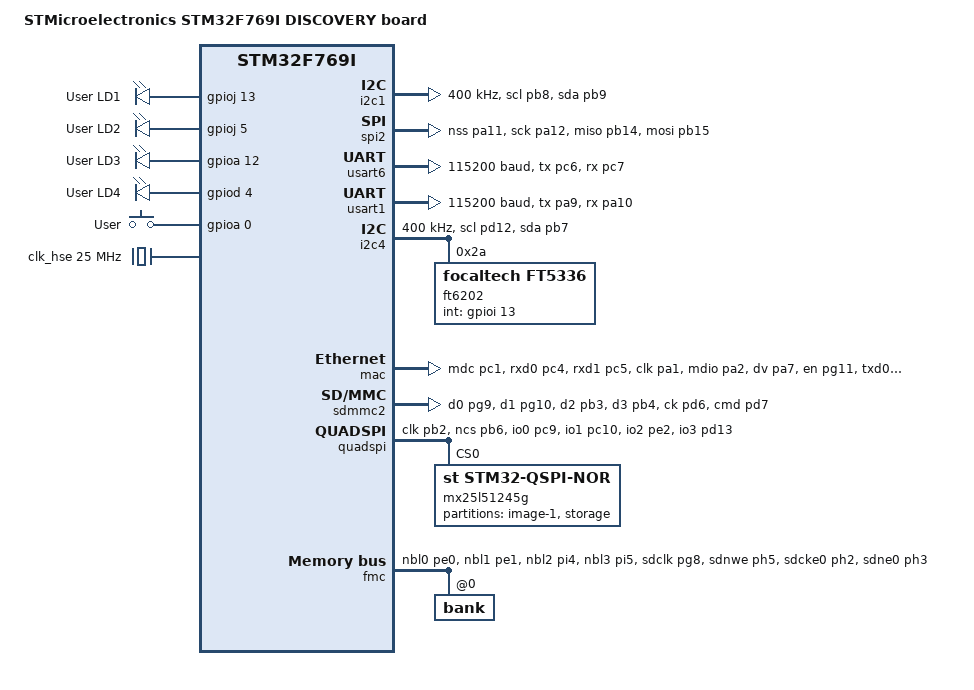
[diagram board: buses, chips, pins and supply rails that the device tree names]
/*
 * Copyright (c) 2018 Yong Jin
 *
 * SPDX-License-Identifier: Apache-2.0
 */

/dts-v1/;
#include <st/f7/stm32f769Xi.dtsi>
#include <st/f7/stm32f769nihx-pinctrl.dtsi>
#include <zephyr/dt-bindings/memory-attr/memory-attr-arm.h>
#include "arduino_r3_connector.dtsi"
#include <zephyr/dt-bindings/input/input-event-codes.h>

/ {
	model = "STMicroelectronics STM32F769I DISCOVERY board";
	compatible = "st,stm32f769I-disco";

	chosen {
		zephyr,console = &usart1;
		zephyr,shell-uart = &usart1;
		zephyr,sram = &sram0;
		zephyr,flash = &flash0;
		zephyr,dtcm = &dtcm;
		zephyr,flash-controller = &mx25l51245g;
	};

	sdram1: sdram@c0000000 {
		compatible = "zephyr,memory-region", "mmio-sram";
		device_type = "memory";
		reg = <0xc0000000 DT_SIZE_M(16)>;
		zephyr,memory-region = "SDRAM1";
		zephyr,memory-attr = <( DT_MEM_ARM(ATTR_MPU_RAM) )>;
	};

	leds {
		compatible = "gpio-leds";
		red_led_1:led_1 {
			gpios = <&gpioj 13 GPIO_ACTIVE_HIGH>;
			label = "User LD1";
		};
		green_led_2:led_2 {
			gpios = <&gpioj 5 GPIO_ACTIVE_HIGH>;
			label = "User LD2";
		};
		green_led_3:led_3 {
			gpios = <&gpioa 12 GPIO_ACTIVE_HIGH>;
			label = "User LD3";
		};
		red_led_4:led_4 {
			gpios = <&gpiod 4 GPIO_ACTIVE_HIGH>;
			label = "User LD4";
		};
	};

	gpio_keys {
		compatible = "gpio-keys";
		user_button: button {
			label = "User";
			gpios = <&gpioa 0 GPIO_ACTIVE_HIGH>;
			zephyr,code = <INPUT_KEY_0>;
		};
	};

	lvgl_pointer {
		compatible = "zephyr,lvgl-pointer-input";
		input = <&ft6202>;
	};

	aliases {
		led0 = &red_led_1;
		led1 = &green_led_2;
		led2 = &green_led_3;
		led3 = &red_led_4;
		sw0 = &user_button;
		spi-flash0 = &mx25l51245g;
	};
};

&clk_hse {
	clock-frequency = <DT_FREQ_M(25)>;
	status = "okay";
};

&pll {
	div-m = <25>;
	mul-n = <432>;
	div-p = <2>;
	div-q = <9>;
	clocks = <&clk_hse>;
	status = "okay";
};

&rcc {
	clocks = <&pll>;
	clock-frequency = <DT_FREQ_M(216)>;
	ahb-prescaler = <1>;
	apb1-prescaler = <4>;
	apb2-prescaler = <2>;
};

arduino_i2c: &i2c1 {};
arduino_spi: &spi2 {};
arduino_serial: &usart6 {};

&usart1 {
	pinctrl-0 = <&usart1_tx_pa9 &usart1_rx_pa10>;
	pinctrl-names = "default";
	current-speed = <115200>;
	status = "okay";
};

&usart6 {
	pinctrl-0 = <&usart6_tx_pc6 &usart6_rx_pc7>;
	pinctrl-names = "default";
	current-speed = <115200>;
	status = "okay";
};

&i2c1 {
	pinctrl-0 = <&i2c1_scl_pb8 &i2c1_sda_pb9>;
	pinctrl-names = "default";
	status = "okay";
	clock-frequency = <I2C_BITRATE_FAST>;
};

&i2c4 {
	pinctrl-0 = <&i2c4_scl_pd12 &i2c4_sda_pb7>;
	pinctrl-names = "default";
	status = "okay";
	clock-frequency = <I2C_BITRATE_FAST>;

	ft6202: ft6202@2a {
		compatible = "focaltech,ft5336";
		reg = <0x2a>;
		int-gpios = <&gpioi 13 0>;
	};
};

&spi2 {
	pinctrl-0 = <&spi2_nss_pa11 &spi2_sck_pa12 &spi2_miso_pb14 &spi2_mosi_pb15>;
	pinctrl-names = "default";
	status = "okay";
};

&mac {
	status = "okay";
	pinctrl-0 = <&eth_mdc_pc1
		     &eth_rxd0_pc4
		     &eth_rxd1_pc5
		     &eth_ref_clk_pa1
		     &eth_mdio_pa2
		     &eth_crs_dv_pa7
		     &eth_tx_en_pg11
		     &eth_txd0_pg13
		     &eth_txd1_pg14>;
	pinctrl-names = "default";
};

&sdmmc2 {
	status = "okay";
	pinctrl-0 = <&sdmmc2_d0_pg9 &sdmmc2_d1_pg10
		     &sdmmc2_d2_pb3 &sdmmc2_d3_pb4
		     &sdmmc2_ck_pd6 &sdmmc2_cmd_pd7>;
	pinctrl-names = "default";
	cd-gpios = <&gpioi 15 GPIO_ACTIVE_LOW>;
};

&quadspi {
	pinctrl-0 = <&quadspi_clk_pb2 &quadspi_bk1_ncs_pb6
		     &quadspi_bk1_io0_pc9 &quadspi_bk1_io1_pc10
		     &quadspi_bk1_io2_pe2 &quadspi_bk1_io3_pd13>;
	pinctrl-names = "default";
	status = "okay";

	mx25l51245g: qspi-nor-flash@0 {
		compatible = "st,stm32-qspi-nor";
		reg = <0>;
		qspi-max-frequency = <72000000>;
		size = <DT_SIZE_M(64*8)>;
		status = "okay";

		partitions {
			compatible = "fixed-partitions";
			#address-cells = <1>;
			#size-cells = <1>;

			slot1_partition: partition@0 {
				label = "image-1";
				reg = <0x00000000 DT_SIZE_K(1664)>;
				};

			storage_partition: partition@1a0000 {
				label = "storage";
				reg = <0x001a0000 DT_SIZE_M(62)>;
			};
		};
	};
};

&fmc {
	status = "okay";
	pinctrl-0 = <&fmc_nbl0_pe0 &fmc_nbl1_pe1 &fmc_nbl2_pi4 &fmc_nbl3_pi5
		     &fmc_sdclk_pg8 &fmc_sdnwe_ph5 &fmc_sdcke0_ph2 &fmc_sdne0_ph3
		     &fmc_sdnras_pf11 &fmc_sdncas_pg15
		     &fmc_a0_pf0 &fmc_a1_pf1 &fmc_a2_pf2 &fmc_a3_pf3
		     &fmc_a4_pf4 &fmc_a5_pf5 &fmc_a6_pf12 &fmc_a7_pf13
		     &fmc_a8_pf14 &fmc_a9_pf15 &fmc_a10_pg0 &fmc_a11_pg1
		     &fmc_a12_pg2 &fmc_a14_pg4 &fmc_a15_pg5
		     &fmc_d0_pd14 &fmc_d1_pd15 &fmc_d2_pd0 &fmc_d3_pd1
		     &fmc_d4_pe7 &fmc_d5_pe8 &fmc_d6_pe9 &fmc_d7_pe10
		     &fmc_d8_pe11 &fmc_d9_pe12 &fmc_d10_pe13 &fmc_d11_pe14
		     &fmc_d12_pe15 &fmc_d13_pd8 &fmc_d14_pd9 &fmc_d15_pd10
		     &fmc_d16_ph8 &fmc_d17_ph9 &fmc_d18_ph10 &fmc_d19_ph11
		     &fmc_d20_ph12 &fmc_d21_ph13 &fmc_d22_ph14 &fmc_d23_ph15
		     &fmc_d24_pi0 &fmc_d25_pi1 &fmc_d26_pi2 &fmc_d27_pi3
		     &fmc_d28_pi6 &fmc_d29_pi7 &fmc_d30_pi9 &fmc_d31_pi10>;
	pinctrl-names = "default";

	sdram {
		status = "okay";

		power-up-delay = <100>;
		num-auto-refresh = <8>;
		mode-register = <0x230>;
		refresh-rate = <603>;

		bank@0 {
			reg = <0>;

			st,sdram-control = <STM32_FMC_SDRAM_NC_8
					    STM32_FMC_SDRAM_NR_12
					    STM32_FMC_SDRAM_MWID_32
					    STM32_FMC_SDRAM_NB_4
					    STM32_FMC_SDRAM_CAS_3
					    STM32_FMC_SDRAM_SDCLK_PERIOD_2
					    STM32_FMC_SDRAM_RBURST_ENABLE
					    STM32_FMC_SDRAM_RPIPE_0>;
			st,sdram-timing = <2 6 4 6 2 2 2>;
		};
	};
};
